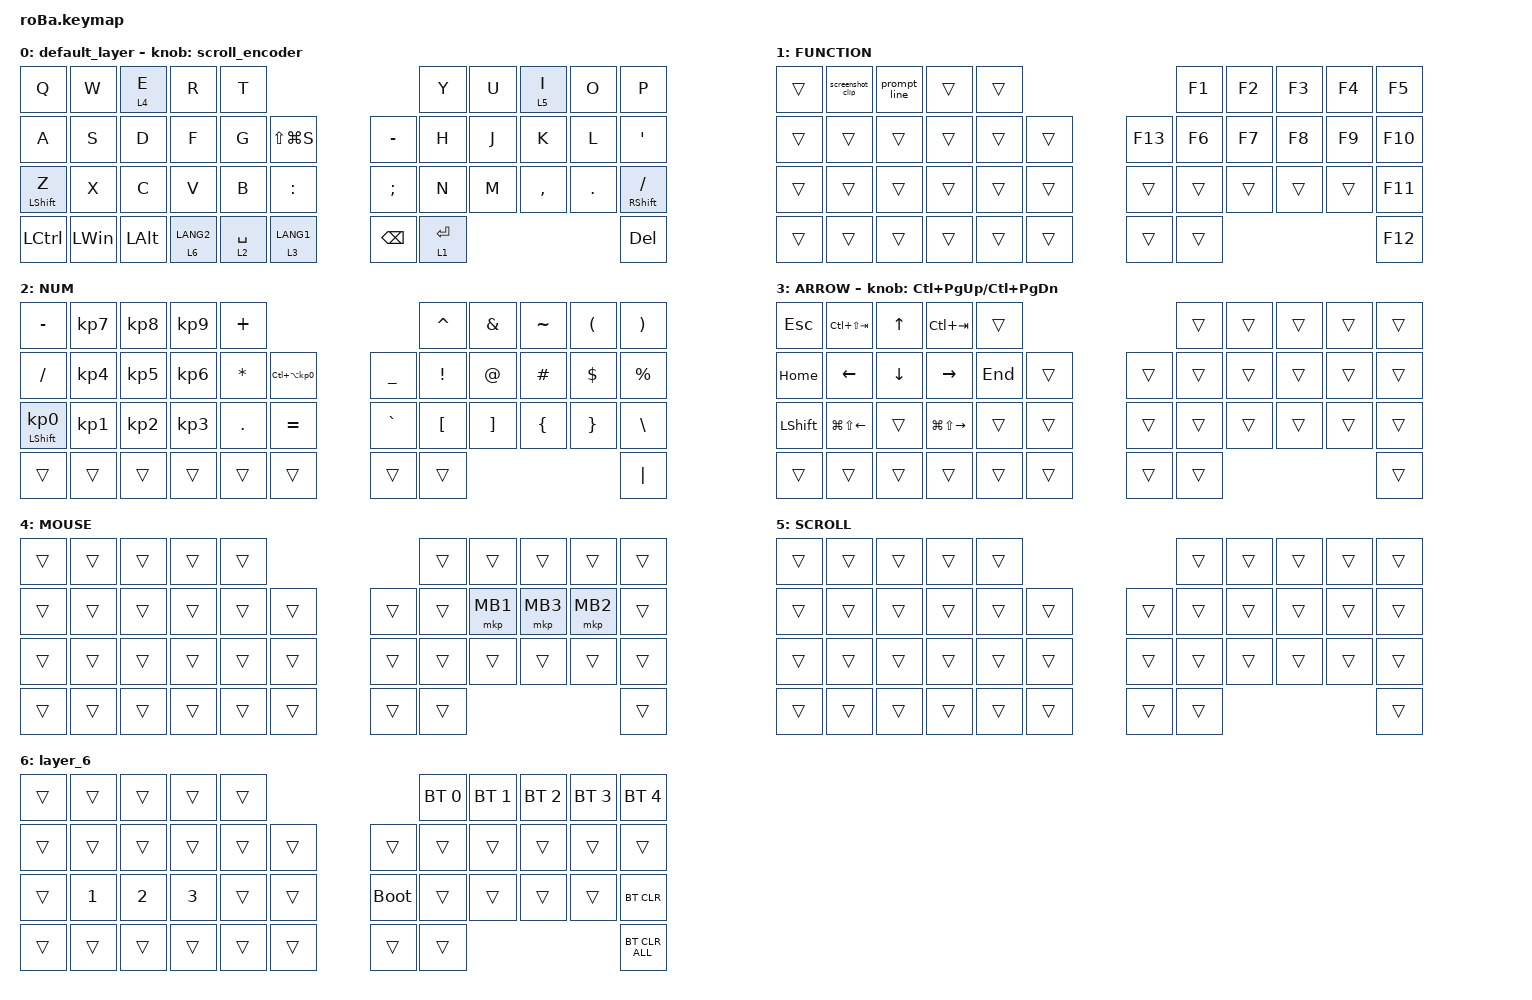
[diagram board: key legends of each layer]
#include <behaviors.dtsi>
#include <dt-bindings/zmk/bt.h>
#include <dt-bindings/zmk/keys.h>
#include <dt-bindings/zmk/pointing.h>
#define ZMK_POINTING_DEFAULT_SCRL_VAL 120

&mt {
    flavor = "tap-preferred";
    tapping-term-ms = <200>;
    quick-tap-ms = <175>;
    require-prior-idle-ms = <150>;
};

&trackball {
    scroll-layers = <5>;
    automouse-layer = <4>;

    // arrows {
    //     layers = <3>;
    //     bindings =
    //         <&kp RIGHT_ARROW>,
    //         <&kp LEFT_ARROW>,
    //         <&kp UP_ARROW>,
    //         <&kp DOWN_ARROW>;

    //     tick = <10>;
    //     wait-ms = <5>;
    //     tap-ms = <5>;
    // };
};

/ {
    combos {
        compatible = "zmk,combos";

        tab {
            bindings = <&kp TAB>;
            key-positions = <11 12>;
        };

        shift_tab {
            bindings = <&kp LS(TAB)>;
            key-positions = <12 13>;
        };

        muhennkann {
            bindings = <&to_layer_0 LANG2>;
            key-positions = <11 10>;
        };

        double_quotation {
            bindings = <&kp DOUBLE_QUOTES>;
            key-positions = <20 21>;
        };

        eq {
            bindings = <&kp EQUAL>;
            key-positions = <24 25>;
        };

        function_layer {
            bindings = <&mo 1>;
            key-positions = <18 19>;
        };
    };

    macros {
        to_layer_0: to_layer_0 {
            compatible = "zmk,behavior-macro-one-param";
            #binding-cells = <1>;
            bindings = <&to 0 &macro_param_1to1 &kp MACRO_PLACEHOLDER>;
            label = "TO_LAYER_0";
        };

        screenshot_file: screenshot_file {
            compatible = "zmk,behavior-macro";
            #binding-cells = <0>;
            bindings = <&kp LG(LS(N4))>;
            label = "SCREENSHOT_FILE";
        };

        screenshot_clip: screenshot_clip {
            compatible = "zmk,behavior-macro";
            #binding-cells = <0>;
            bindings = <&macro_press &kp LSHFT &kp LCTRL &kp LGUI>
                     , <&macro_tap &kp N4>
                     , <&macro_release &kp LSHFT &kp LCTRL &kp LGUI>;
            label = "SCREENSHOT_CLIP";
        };

        prompt_line: prompt_line {
            compatible = "zmk,behavior-macro";
            #binding-cells = <0>;
            bindings = <&kp LG(LS(P))>;
            label = "PROMPT_LINE";
        };
    };

    behaviors {
        lt_to_layer_0: lt_to_layer_0 {
            compatible = "zmk,behavior-hold-tap";
            label = "LAYER_TAP_TO_0";
            bindings = <&mo>, <&to_layer_0>;

            #binding-cells = <2>;
            tapping-term-ms = <200>;
        };

        scroll_encoder: scroll_encoder {
            compatible = "zmk,behavior-sensor-rotate";
            #sensor-binding-cells = <0>;
            bindings = <&msc SCRL_UP>, <&msc SCRL_DOWN>;
            tap-ms = <20>;
        };
    };

    keymap {
        compatible = "zmk,keymap";

        default_layer {
            bindings = <
&kp Q             &kp W         &lt 4 E       &kp R                        &kp T                                                          &kp Y        &kp U  &lt 5 I    &kp O    &kp P
&kp A             &kp S         &kp D         &kp F                        &kp G        &kp LS(LG(S))                      &kp MINUS      &kp H        &kp J  &kp K      &kp L    &kp SQT
&mt LEFT_SHIFT Z  &kp X         &kp C         &kp V                        &kp B        &kp COLON                          &kp SEMICOLON  &kp N        &kp M  &kp COMMA  &kp DOT  &mt RSHIFT SLASH
&kp LCTRL         &kp LEFT_WIN  &kp LEFT_ALT  &lt_to_layer_0 6 LANG2        &lt 2 SPACE  &lt_to_layer_0 3 LANG1              &kp BACKSPACE  &lt 1 ENTER                             &kp DEL
            >;

            sensor-bindings = <&scroll_encoder>;
        };

        FUNCTION {
            bindings = <
&trans  &screenshot_clip  &prompt_line  &trans  &trans                       &kp F1  &kp F2  &kp F3  &kp F4  &kp F5
&trans  &trans  &trans  &trans  &trans  &trans      &kp F13  &kp F6  &kp F7  &kp F8  &kp F9  &kp F10
&trans  &trans  &trans  &trans  &trans  &trans      &trans   &trans  &trans  &trans  &trans  &kp F11
&trans  &trans  &trans  &trans  &trans  &trans      &trans   &trans                          &kp F12
            >;
        };

        NUM {
            bindings = <
&kp MINUS                   &kp KP_NUMBER_7  &kp KP_NUMBER_8  &kp KP_NUMBER_9  &kp PLUS                                                   &kp CARET         &kp AMPERSAND      &kp TILDE       &kp LEFT_PARENTHESIS  &kp RIGHT_PARENTHESIS
&kp SLASH                   &kp KP_NUMBER_4  &kp KP_NUMBER_5  &kp KP_NUMBER_6  &kp ASTERISK  &kp LC(LA(KP_NUMBER_0))      &kp UNDERSCORE  &kp EXCLAMATION   &kp AT_SIGN        &kp HASH        &kp DOLLAR            &kp PERCENT
&mt LEFT_SHIFT KP_NUMBER_0  &kp KP_NUMBER_1  &kp KP_NUMBER_2  &kp KP_NUMBER_3  &kp PERIOD    &kp EQUAL                    &kp GRAVE       &kp LEFT_BRACKET  &kp RIGHT_BRACKET  &kp LEFT_BRACE  &kp RIGHT_BRACE       &kp BACKSLASH
&trans                      &trans           &trans           &trans           &trans        &trans                       &trans          &trans                                                                     &kp PIPE
            >;
        };

        ARROW {
            bindings = <
&kp ESCAPE      &kp LC(LS(TAB))         &kp UP_ARROW    &kp LC(TAB)              &trans                       &trans  &trans  &trans  &trans  &trans
&kp HOME        &kp LEFT_ARROW          &kp DOWN_ARROW  &kp RIGHT_ARROW          &kp END  &trans      &trans  &trans  &trans  &trans  &trans  &trans
&kp LEFT_SHIFT  &kp LG(LS(LEFT_ARROW))  &trans          &kp LG(LS(RIGHT_ARROW))  &trans   &trans      &trans  &trans  &trans  &trans  &trans  &trans
&trans          &trans                  &trans          &trans                   &trans   &trans      &trans  &trans                          &trans
            >;

            sensor-bindings = <&inc_dec_kp LC(PAGE_UP) LC(PAGE_DOWN)>;
        };

        MOUSE {
            bindings = <
&trans  &trans  &trans  &trans  &trans                      &trans  &trans    &trans    &trans    &trans
&trans  &trans  &trans  &trans  &trans  &trans      &trans  &trans  &mkp MB1  &mkp MB3  &mkp MB2  &trans
&trans  &trans  &trans  &trans  &trans  &trans      &trans  &trans  &trans    &trans    &trans    &trans
&trans  &trans  &trans  &trans  &trans  &trans      &trans  &trans                                &trans
            >;
        };

        SCROLL {
            bindings = <
&trans  &trans  &trans  &trans  &trans                      &trans  &trans  &trans  &trans  &trans
&trans  &trans  &trans  &trans  &trans  &trans      &trans  &trans  &trans  &trans  &trans  &trans
&trans  &trans  &trans  &trans  &trans  &trans      &trans  &trans  &trans  &trans  &trans  &trans
&trans  &trans  &trans  &trans  &trans  &trans      &trans  &trans                          &trans
            >;
        };

        layer_6 {
            bindings = <
&trans  &trans        &trans        &trans        &trans                           &bt BT_SEL 0  &bt BT_SEL 1  &bt BT_SEL 2  &bt BT_SEL 3  &bt BT_SEL 4
&trans  &trans        &trans        &trans        &trans  &trans      &trans       &trans        &trans        &trans        &trans        &trans
&trans  &kp NUMBER_1  &kp NUMBER_2  &kp NUMBER_3  &trans  &trans      &bootloader  &trans        &trans        &trans        &trans        &bt BT_CLR
&trans  &trans        &trans        &trans        &trans  &trans      &trans       &trans                                                  &bt BT_CLR_ALL
            >;
        };
    };
};
